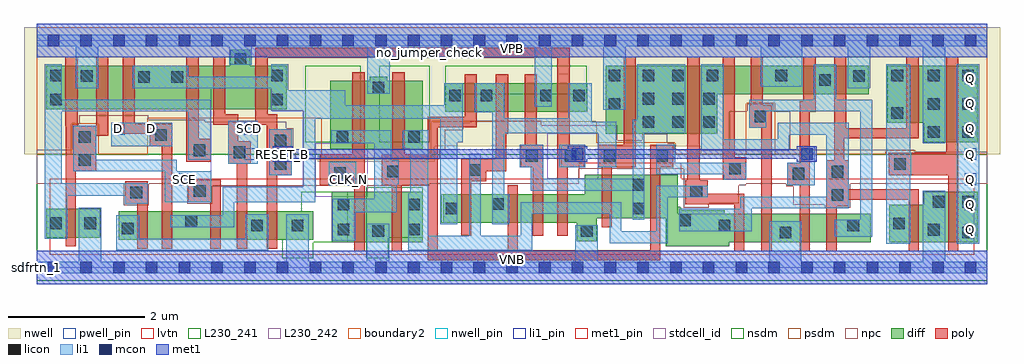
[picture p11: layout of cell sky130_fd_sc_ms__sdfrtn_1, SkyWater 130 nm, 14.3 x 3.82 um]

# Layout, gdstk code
import gdstk
lib = gdstk.Library(unit=1e-6, precision=1e-09)
def R(c, l, rs):  # rectangles x0, y0, x1, y1
    for r in rs: c.add(gdstk.rectangle(r[:2], r[2:], *l))
def A(c, l, x, y, w, h, nx, ny, dx, dy):  # array of equal rectangles
    R(c, l, [(x+i*dx, y+j*dy, x+i*dx+w, y+j*dy+h) for i in range(nx) for j in range(ny)])
def P(c, l, *ps):  # polygons
    for p in ps: c.add(gdstk.Polygon(p, *l))
nwell_pin = (64, 16)
nwell = (64, 20)
diff = (65, 20)
poly = (66, 20)
licon = (66, 44)
li1_pin = (67, 16)
li1 = (67, 20)
mcon = (67, 44)
met1_pin = (68, 16)
met1 = (68, 20)
stdcell_id = (81, 4)
nsdm = (93, 44)
psdm = (94, 20)
npc = (95, 20)
pwell_pin = (122, 16)
lvtn = (125, 44)
L230_241 = (230, 241)
L230_242 = (230, 242)
boundary2 = (236, 0)

sky130_fd_sc_ms__sdfrtn_ = lib.new_cell('sky130_fd_sc_ms__sdfrtn_1')
R(sky130_fd_sc_ms__sdfrtn_, nwell_pin, [(0,3.085,13.92,3.33)])
P(sky130_fd_sc_ms__sdfrtn_, nwell, [(14.11,3.52),(-0.19,3.52),(-0.19,1.66),(4.115,1.66),(4.115,1.555),(5.83,1.555),(5.83,1.78),(9.725,1.78),(9.725,1.66),(14.11,1.66)])
R(sky130_fd_sc_ms__sdfrtn_, diff, [(4.32,0.37,5.65,1.11), (1.195,0.405,4.05,0.825), (0.135,0.44,0.925,0.86), (5.985,2.285,8.065,2.705)])
P(sky130_fd_sc_ms__sdfrtn_, diff, [(3.66,2.96),(3.125,2.96),(3.125,3.195),(2.835,3.195),(2.835,2.96),(0.135,2.96),(0.135,2.32),(3.66,2.32)],
  [(5.65,2.735),(5.13,2.735),(5.13,2.8),(4.875,2.8),(4.875,2.735),(4.295,2.735),(4.295,1.735),(5.65,1.735)],
  [(12.19,2.96),(8.335,2.96),(8.335,1.96),(9.97,1.96),(9.97,2.54),(12.19,2.54)],
  [(13.785,1.11),(12.995,1.11),(12.995,0.92),(12.485,0.92),(12.485,0.37),(13.785,0.37)],
  [(12.215,0.79),(10.08,0.79),(10.08,0.84),(9.44,0.84),(9.44,0.875),(9.425,0.875),(9.425,0.895),(9.385,0.895),(9.385,1.36),(8.025,1.36),(8.025,1.075),(5.95,1.075),(5.95,0.655),(7.91,0.655),(7.91,0.39),(8.2,0.39),(8.2,0.72),(9.22,0.72),(9.22,0.31),(10.14,0.31),(10.14,0.37),(12.215,0.37)],
  [(13.785,2.96),(12.46,2.96),(12.46,2.12),(12.995,2.12),(12.995,1.84),(13.785,1.84)])
P(sky130_fd_sc_ms__sdfrtn_, poly, [(1.045,3.09),(0.865,3.09),(0.865,2.08),(0.595,2.08),(0.595,3.09),(0.415,3.09),(0.415,2.08),(0.42,2.08),(0.42,0.31),(0.57,0.31),(0.57,1.41),(0.865,1.41),(0.865,1.93),(1.045,1.93)],
  [(1.62,1.265),(1.29,1.265),(1.29,0.935),(1.47,0.935),(1.47,0.275),(1.62,0.275)],
  [(1.98,2.11),(1.435,2.11),(1.435,3.09),(1.255,3.09),(1.255,1.96),(1.65,1.96),(1.65,1.78),(1.83,1.78),(1.83,0.275),(1.98,0.275)],
  [(2.545,1.885),(2.37,1.885),(2.37,3.09),(2.19,3.09),(2.19,1.555),(2.545,1.555)],
  [(2.69,1.285),(2.22,1.285),(2.22,0.955),(2.54,0.955),(2.54,0.275),(2.69,0.275)],
  [(3.13,1.855),(2.95,1.855),(2.95,2.245),(2.76,2.245),(2.76,3.09),(2.58,3.09),(2.58,2.095),(2.8,2.095),(2.8,1.525),(2.93,1.525),(2.93,0.275),(3.08,0.275),(3.08,1.525),(3.13,1.525)],
  [(4.8,2.865),(4.62,2.865),(4.62,1.66),(4.145,1.66),(4.145,1.21),(4.65,1.21),(4.65,0.24),(4.8,0.24)],
  [(6.905,2.835),(6.725,2.835),(6.725,1.595),(6.215,1.595),(6.215,0.465),(6.365,0.465),(6.365,1.265),(6.58,1.265),(6.58,1.415),(6.875,1.415),(6.875,1.965),(6.905,1.965)],
  [(7.415,1.8),(7.325,1.8),(7.325,2.835),(7.145,2.835),(7.145,1.8),(7.085,1.8),(7.085,1.47),(7.265,1.47),(7.265,0.465),(7.415,0.465)],
  [(8.015,1.8),(7.805,1.8),(7.805,3.225),(3.2,3.225),(3.2,2.095),(3.37,2.095),(3.37,0.275),(3.52,0.275),(3.52,1.355),(3.735,1.355),(3.735,2.025),(3.52,2.025),(3.52,2.245),(3.38,2.245),(3.38,3.075),(7.625,3.075),(7.625,0.465),(7.775,0.465),(7.775,1.47),(8.015,1.47)],
  [(13.5,3.09),(13.32,3.09),(13.32,1.685),(12.48,1.685),(12.48,1.355),(13.35,1.355),(13.35,0.24),(13.5,0.24)],
  [(12.92,1.145),(11.895,1.145),(11.895,1.57),(11.83,1.57),(11.83,1.895),(12.92,1.895),(12.92,3.09),(12.74,3.09),(12.74,2.045),(11.86,2.045),(11.86,3.09),(11.68,3.09),(11.68,1.57),(11.565,1.57),(11.565,0.24),(11.715,0.24),(11.715,0.9),(11.895,0.9),(11.895,0.995),(12.77,0.995),(12.77,0.24),(12.92,0.24)],
  [(11.41,3.09),(11.23,3.09),(11.23,2.435),(11.175,2.435),(11.175,1.54),(10.995,1.54),(10.995,1.21),(11.175,1.21),(11.175,0.24),(11.325,0.24),(11.325,2.285),(11.41,2.285)],
  [(10.765,2.38),(10.635,2.38),(10.635,3.09),(10.455,3.09),(10.455,2.38),(10.435,2.38),(10.435,2.05),(10.615,2.05),(10.615,0.24),(10.765,0.24)],
  [(10.395,1.62),(10.225,1.62),(10.225,3.09),(10.045,3.09),(10.045,1.29),(10.395,1.29)],
  [(10.365,1.08),(9.825,1.08),(9.825,1.28),(9.71,1.28),(9.71,3.09),(9.53,3.09),(9.53,1.28),(9.495,1.28),(9.495,0.93),(10.215,0.93),(10.215,0.24),(10.365,0.24)],
  [(8.775,3.09),(8.595,3.09),(8.595,1.8),(8.225,1.8),(8.225,1.47),(8.275,1.47),(8.275,0.59),(8.425,0.59),(8.425,1.47),(8.775,1.47)],
  [(9.32,1.8),(8.985,1.8),(8.985,0.255),(7.045,0.255),(7.045,1.205),(6.895,1.205),(6.895,0.255),(5.875,0.255),(5.875,2.06),(6.445,2.06),(6.445,2.835),(6.265,2.835),(6.265,2.21),(5.725,2.21),(5.725,1.66),(5.385,1.66),(5.385,2.865),(5.205,2.865),(5.205,1.66),(5.05,1.66),(5.05,1.21),(5.195,1.21),(5.195,0.24),(5.345,0.24),(5.345,1.21),(5.725,1.21),(5.725,0.105),(9.135,0.105),(9.135,1.47),(9.32,1.47)])
A(sky130_fd_sc_ms__sdfrtn_, licon, 7.165, 1.55, 0.17, 0.17, 3, 1, 0.57, 0)
A(sky130_fd_sc_ms__sdfrtn_, licon, 13.055, 1.9, 0.17, 0.17, 1, 3, 0, 0.415)
A(sky130_fd_sc_ms__sdfrtn_, licon, 13.555, 1.9, 0.17, 0.17, 1, 3, 0, 0.415)
A(sky130_fd_sc_ms__sdfrtn_, licon, 8.875, 2.05, 0.17, 0.17, 1, 3, 0, 0.34)
A(sky130_fd_sc_ms__sdfrtn_, licon, 9.31, 2.05, 0.17, 0.17, 1, 3, 0, 0.34)
R(sky130_fd_sc_ms__sdfrtn_, licon, [(10.88,0.43,11.05,0.6), (13.555,0.43,13.725,0.6), (4.915,0.45,5.085,0.62), (7.97,0.45,8.14,0.62), (13.055,0.47,13.225,0.64), (4.405,0.475,4.575,0.645), (5.44,0.475,5.61,0.645), (1.245,0.49,1.415,0.66), (3.14,0.53,3.31,0.7), (3.735,0.53,3.905,0.7), (9.99,0.53,10.16,0.7), (11.875,0.53,12.045,0.7), (12.545,0.56,12.715,0.73), (0.195,0.565,0.365,0.735), (0.695,0.565,0.865,0.735), (2.175,0.595,2.345,0.765), (9.41,0.61,9.58,0.78), (5.99,0.78,6.16,0.95), (8.73,0.78,8.9,0.95), (4.405,0.84,4.575,1.01), (5.44,0.84,5.61,1.01), (6.67,0.845,6.84,1.015), (13.125,0.88,13.295,1.05), (13.555,0.88,13.725,1.05), (11.645,0.98,11.815,1.15), (1.37,1.015,1.54,1.185), (9.575,1.03,9.745,1.2), (2.3,1.035,2.47,1.205), (8.73,1.13,8.9,1.3), (11.075,1.29,11.245,1.46), (4.355,1.3,4.525,1.47), (11.645,1.32,11.815,1.49), (5.13,1.325,5.3,1.495), (6.33,1.345,6.5,1.515), (10.145,1.37,10.315,1.54), (3.485,1.435,3.655,1.605), (12.56,1.435,12.73,1.605), (0.615,1.49,0.785,1.66), (9.07,1.55,9.24,1.72), (2.88,1.605,3.05,1.775), (2.295,1.635,2.465,1.805), (3.485,1.775,3.655,1.945), (0.615,1.83,0.785,2), (4.39,1.83,4.56,2), (5.44,1.83,5.61,2), (1.73,1.86,1.9,2.03), (9.76,2.05,9.93,2.22), (10.515,2.13,10.685,2.3), (12.52,2.18,12.69,2.35), (8.375,2.31,8.545,2.48), (0.195,2.38,0.365,2.55), (3.43,2.38,3.6,2.55), (9.76,2.39,9.93,2.56), (6.04,2.44,6.21,2.61), (6.5,2.44,6.67,2.61), (7.375,2.44,7.545,2.61), (7.855,2.44,8.025,2.61), (4.92,2.55,5.09,2.72), (11.46,2.665,11.63,2.835), (1.485,2.71,1.655,2.88), (1.97,2.71,2.14,2.88), (0.645,2.72,0.815,2.89), (11.96,2.72,12.13,2.89), (0.195,2.73,0.365,2.9), (3.43,2.73,3.6,2.9), (8.375,2.73,8.545,2.9), (9.815,2.73,9.985,2.9), (10.82,2.73,10.99,2.9), (12.52,2.73,12.69,2.9), (2.895,2.97,3.065,3.14)])
A(sky130_fd_sc_ms__sdfrtn_, li1_pin, 13.595, 0.47, 0.17, 0.17, 1, 7, 0, 0.37)
R(sky130_fd_sc_ms__sdfrtn_, li1_pin, [(2.075,1.21,2.245,1.38), (4.475,1.21,4.645,1.38), (3.035,1.58,3.205,1.75), (1.115,1.95,1.285,2.12), (1.595,1.95,1.765,2.12), (3.035,1.95,3.205,2.12)])
R(sky130_fd_sc_ms__sdfrtn_, li1, [(4.835,0.085,5.165,0.64), (13.475,0.35,13.805,2.98), (4.275,1.21,4.675,1.55), (3.405,1.355,3.735,2.025), (7.655,1.47,8.035,1.8), (2.8,1.525,3.235,2.15), (1.085,1.78,1.98,2.12)])
P(sky130_fd_sc_ms__sdfrtn_, li1, [(2.545,2.46),(0.365,2.46),(0.365,2.98),(0.115,2.98),(0.115,0.42),(0.445,0.42),(0.445,1.05),(1.29,1.05),(1.29,0.935),(1.62,0.935),(1.62,1.24),(0.365,1.24),(0.365,2.29),(2.215,2.29),(2.215,1.58),(2.545,1.58)],
  [(2.55,1.41),(2.045,1.41),(2.045,1.58),(0.865,1.58),(0.865,2.08),(0.535,2.08),(0.535,1.41),(1.875,1.41),(1.875,0.955),(2.55,0.955)],
  [(3.39,0.78),(3.06,0.78),(3.06,0.425),(1.495,0.425),(1.495,0.765),(1.165,0.765),(1.165,0.255),(3.39,0.255)],
  [(5.3,1.575),(5.19,1.575),(5.19,2.01),(4.31,2.01),(4.31,1.82),(4.94,1.82),(4.94,1.01),(4.325,1.01),(4.325,0.395),(4.66,0.395),(4.66,0.81),(5.27,0.81),(5.27,1.22),(5.3,1.22)],
  [(6.235,2.705),(5.965,2.705),(5.965,2.38),(4.515,2.38),(4.515,2.6),(3.68,2.6),(3.68,2.98),(3.43,2.98),(3.43,2.8),(2.22,2.8),(2.22,2.96),(1.405,2.96),(1.405,2.63),(3.43,2.63),(3.43,2.3),(3.905,2.3),(3.905,1.185),(2.72,1.185),(2.72,0.765),(1.955,0.765),(1.955,0.595),(2.89,0.595),(2.89,0.96),(4.075,0.96),(4.075,2.18),(5.91,2.18),(5.91,0.635),(6.16,0.635),(6.16,1.84),(6.235,1.84)],
  [(13.92,0.085),(13.305,0.085),(13.305,1.13),(12.975,1.13),(12.975,0.085),(11.2,0.085),(11.2,0.68),(10.73,0.68),(10.73,0.085),(8.22,0.085),(8.22,0.62),(7.89,0.62),(7.89,0.085),(3.985,0.085),(3.985,0.78),(3.655,0.78),(3.655,0.085),(0.945,0.085),(0.945,0.88),(0.615,0.88),(0.615,0.085),(0,0.085),(0,-0.085),(13.92,-0.085)],
  [(13.92,3.415),(0,3.415),(0,3.245),(0.565,3.245),(0.565,2.63),(0.895,2.63),(0.895,3.245),(2.815,3.245),(2.815,2.97),(3.145,2.97),(3.145,3.245),(4.84,3.245),(4.84,2.55),(5.17,2.55),(5.17,3.245),(7.295,3.245),(7.295,2.36),(7.545,2.36),(7.545,3.245),(8.295,3.245),(8.295,2.31),(8.625,2.31),(8.625,3.245),(10.605,3.245),(10.605,2.65),(11.21,2.65),(11.21,3.245),(11.88,3.245),(11.88,2.63),(12.21,2.63),(12.21,3.245),(12.975,3.245),(12.975,1.82),(13.305,1.82),(13.305,3.245),(13.92,3.245)],
  [(10.395,1.54),(9.35,1.54),(9.35,1.8),(9.07,1.8),(9.07,1.37),(10.065,1.37),(10.065,1.29),(10.395,1.29)],
  [(9.825,1.2),(9.07,1.2),(9.07,0.53),(8.56,0.53),(8.56,0.96),(7.09,0.96),(7.09,0.465),(6.5,0.465),(6.5,1.67),(6.33,1.67),(6.33,0.465),(5.735,0.465),(5.735,2.01),(5.36,2.01),(5.36,1.745),(5.47,1.745),(5.47,1.09),(5.44,1.09),(5.44,0.255),(7.26,0.255),(7.26,0.79),(8.39,0.79),(8.39,0.36),(9.24,0.36),(9.24,1.03),(9.825,1.03)],
  [(8.49,2.14),(8.125,2.14),(8.125,2.705),(7.785,2.705),(7.785,2.19),(6.85,2.19),(6.85,2.705),(6.415,2.705),(6.415,2.275),(6.67,2.275),(6.67,0.635),(6.92,0.635),(6.92,1.075),(6.85,1.075),(6.85,1.97),(8.225,1.97),(8.225,1.47),(8.49,1.47)],
  [(9.495,2.98),(8.795,2.98),(8.795,2.165),(8.73,2.165),(8.73,1.3),(7.415,1.3),(7.415,1.8),(7.075,1.8),(7.075,1.47),(7.235,1.47),(7.235,1.13),(8.73,1.13),(8.73,0.7),(8.9,0.7),(8.9,1.97),(9.495,1.97)],
  [(12.235,2.46),(11.71,2.46),(11.71,2.98),(11.38,2.98),(11.38,2.46),(10.435,2.46),(10.435,2.05),(10.685,2.05),(10.685,2.29),(12.065,2.29),(12.065,0.7),(11.69,0.7),(11.69,0.45),(12.235,0.45)],
  [(11.895,2.12),(10.855,2.12),(10.855,1.88),(10.065,1.88),(10.065,2.98),(9.735,2.98),(9.735,1.71),(11.025,1.71),(11.025,1.95),(11.565,1.95),(11.565,1.04),(10.305,1.04),(10.305,0.86),(9.41,0.86),(9.41,0.53),(10.475,0.53),(10.475,0.87),(11.895,0.87)],
  [(12.81,1.685),(12.795,1.685),(12.795,2.98),(12.44,2.98),(12.44,0.35),(12.795,0.35),(12.795,1.355),(12.81,1.355)],
  [(11.395,1.78),(11.195,1.78),(11.195,1.54),(10.995,1.54),(10.995,1.21),(11.395,1.21)])
A(sky130_fd_sc_ms__sdfrtn_, mcon, 0.155, -0.085, 0.17, 0.17, 29, 2, 0.48, 3.33)
R(sky130_fd_sc_ms__sdfrtn_, mcon, [(3.515,1.58,3.685,1.75), (7.835,1.58,8.005,1.75), (11.195,1.58,11.365,1.75)])
R(sky130_fd_sc_ms__sdfrtn_, met1_pin, [(0,0,13.92,0.245), (3.515,1.58,3.685,1.75), (0,3.085,13.92,3.33)])
R(sky130_fd_sc_ms__sdfrtn_, met1, [(0,-0.245,13.92,0.245), (0,3.085,13.92,3.575)])
P(sky130_fd_sc_ms__sdfrtn_, met1, [(11.425,1.78),(11.135,1.78),(11.135,1.735),(8.065,1.735),(8.065,1.78),(7.775,1.78),(7.775,1.735),(3.745,1.735),(3.745,1.78),(3.455,1.78),(3.455,1.55),(3.745,1.55),(3.745,1.595),(7.775,1.595),(7.775,1.55),(8.065,1.55),(8.065,1.595),(11.135,1.595),(11.135,1.55),(11.425,1.55)])
R(sky130_fd_sc_ms__sdfrtn_, stdcell_id, [(0,0,13.92,3.33)])
P(sky130_fd_sc_ms__sdfrtn_, nsdm, [(13.92,1.66),(5.78,1.66),(5.78,1.605),(4.165,1.605),(4.165,1.66),(0,1.66),(0,-0.19),(13.92,-0.19)])
P(sky130_fd_sc_ms__sdfrtn_, psdm, [(13.92,3.52),(0,3.52),(0,1.66),(0.505,1.66),(0.505,2.11),(0.895,2.11),(0.895,1.66),(1.62,1.66),(1.62,2.19),(4.165,2.19),(4.165,1.605),(5.78,1.605),(5.78,2.135),(8.195,2.135),(8.195,1.83),(9.35,1.83),(9.35,1.66),(10.395,1.66),(10.395,2.41),(10.81,2.41),(10.81,1.66),(12.435,1.66),(12.435,1.715),(12.875,1.715),(12.875,1.66),(13.92,1.66)])
P(sky130_fd_sc_ms__sdfrtn_, npc, [(13.92,1.7),(12.855,1.7),(12.855,1.73),(11.04,1.73),(11.04,2.295),(10.785,2.295),(10.785,2.4),(10.405,2.4),(10.405,2.295),(10.14,2.295),(10.14,1.73),(9.34,1.73),(9.34,1.82),(9.235,1.82),(9.235,1.96),(8.865,1.96),(8.865,1.87),(8.505,1.87),(8.505,2.085),(7.39,2.085),(7.39,2.155),(6.345,2.155),(6.345,2.125),(6.24,2.125),(6.24,2.02),(5.975,2.02),(5.975,1.73),(5.895,1.73),(5.895,1.595),(3.79,1.595),(3.79,1.73),(3.755,1.73),(3.755,2.045),(3.65,2.045),(3.65,2.14),(2.46,2.14),(2.46,2.17),(1.63,2.17),(1.63,2.23),(0.62,2.23),(0.62,2.1),(0.515,2.1),(0.515,1.73),(0,1.73),(0,1.23),(1.27,1.23),(1.27,0.915),(1.64,0.915),(1.64,1.23),(2.2,1.23),(2.2,0.935),(2.57,0.935),(2.57,1.2),(5.745,1.2),(5.745,1.23),(7.935,1.23),(7.935,1.45),(9.475,1.45),(9.475,0.88),(9.845,0.88),(9.845,0.94),(10.28,0.94),(10.28,1.205),(10.385,1.205),(10.385,1.23),(10.975,1.23),(10.975,1.19),(11.08,1.19),(11.08,0.925),(11.545,0.925),(11.545,0.88),(11.915,0.88),(11.915,1.23),(13.92,1.23)])
R(sky130_fd_sc_ms__sdfrtn_, pwell_pin, [(0,0,13.92,0.245)])
P(sky130_fd_sc_ms__sdfrtn_, lvtn, [(13.73,1.3),(9.44,1.3),(9.44,1.54),(7.94,1.54),(7.94,1.3),(0.19,1.3),(0.19,0.19),(13.73,0.19)])
R(sky130_fd_sc_ms__sdfrtn_, L230_241, [(4.275,1.21,4.675,1.55), (3.405,1.355,3.735,2.025), (7.685,1.47,8.035,1.8), (2.8,1.525,3.235,2.15), (3.93,1.84,4.745,2.96), (5.015,1.84,5.755,2.96), (5.985,2.54,8.055,2.96)])
P(sky130_fd_sc_ms__sdfrtn_, L230_241, [(4.555,1.11),(3.87,1.11),(3.87,0.825),(1.195,0.825),(1.195,0.405),(3.595,0.405),(3.595,0.135),(4.045,0.135),(4.045,0.37),(4.555,0.37)],
  [(5.655,1.18),(4.825,1.18),(4.825,0.135),(5.145,0.135),(5.145,0.44),(5.655,0.44)],
  [(12.215,0.79),(9.385,0.79),(9.385,1.36),(8.025,1.36),(8.025,1.075),(5.925,1.075),(5.925,0.655),(7.91,0.655),(7.91,0.39),(8.2,0.39),(8.2,0.72),(9.21,0.72),(9.21,0.31),(10.14,0.31),(10.14,0.37),(12.215,0.37)])
R(sky130_fd_sc_ms__sdfrtn_, L230_242, [(4.075,1.04,4.845,1.82), (7.475,1.3,8.225,1.97)])
P(sky130_fd_sc_ms__sdfrtn_, L230_242, [(3.905,2.3),(3.43,2.3),(3.43,2.63),(2.545,2.63),(2.545,1.185),(3.905,1.185)],
  [(7.805,3.225),(3.2,3.225),(3.2,3.09),(3.38,3.09),(3.38,3.075),(7.625,3.075),(7.625,2.835),(7.805,2.835)])
R(sky130_fd_sc_ms__sdfrtn_, boundary2, [(0,0,13.92,3.33)])
sky130_fd_sc_ms__sdfrtn_.add(gdstk.Label('VNB', (6.96,0.123), layer=64, texttype=59))
sky130_fd_sc_ms__sdfrtn_.add(gdstk.Label('VPB', (6.96,3.208), layer=64, texttype=5))
sky130_fd_sc_ms__sdfrtn_.add(gdstk.Label('no_jumper_check', (5.75,3.15), layer=83, texttype=44))
sky130_fd_sc_ms__sdfrtn_.add(gdstk.Label('no_jumper_check', (7.355,0.18), layer=83, texttype=44))
sky130_fd_sc_ms__sdfrtn_.add(gdstk.Label('sdfrtn_1', (0,0), layer=83, texttype=44))
sky130_fd_sc_ms__sdfrtn_.add(gdstk.Label('RESET_B', (3.6,1.665), layer=68, texttype=5))
sky130_fd_sc_ms__sdfrtn_.add(gdstk.Label('VPWR', (6.96,3.208), layer=68, texttype=5))
sky130_fd_sc_ms__sdfrtn_.add(gdstk.Label('VGND', (6.96,0.123), layer=68, texttype=5))
sky130_fd_sc_ms__sdfrtn_.add(gdstk.Label('Q', (13.68,0.555), layer=67, texttype=5))
sky130_fd_sc_ms__sdfrtn_.add(gdstk.Label('Q', (13.68,0.925), layer=67, texttype=5))
sky130_fd_sc_ms__sdfrtn_.add(gdstk.Label('Q', (13.68,1.295), layer=67, texttype=5))
sky130_fd_sc_ms__sdfrtn_.add(gdstk.Label('Q', (13.68,1.665), layer=67, texttype=5))
sky130_fd_sc_ms__sdfrtn_.add(gdstk.Label('Q', (13.68,2.035), layer=67, texttype=5))
sky130_fd_sc_ms__sdfrtn_.add(gdstk.Label('Q', (13.68,2.405), layer=67, texttype=5))
sky130_fd_sc_ms__sdfrtn_.add(gdstk.Label('Q', (13.68,2.775), layer=67, texttype=5))
sky130_fd_sc_ms__sdfrtn_.add(gdstk.Label('CLK_N', (4.56,1.295), layer=67, texttype=5))
sky130_fd_sc_ms__sdfrtn_.add(gdstk.Label('SCD', (3.12,1.665), layer=67, texttype=5))
sky130_fd_sc_ms__sdfrtn_.add(gdstk.Label('SCD', (3.12,2.035), layer=67, texttype=5))
sky130_fd_sc_ms__sdfrtn_.add(gdstk.Label('SCE', (2.16,1.295), layer=67, texttype=5))
sky130_fd_sc_ms__sdfrtn_.add(gdstk.Label('D', (1.2,2.035), layer=67, texttype=5))
sky130_fd_sc_ms__sdfrtn_.add(gdstk.Label('D', (1.68,2.035), layer=67, texttype=5))

lib.write_gds('sky130_fd_sc_ms__sdfrtn_1.gds')
